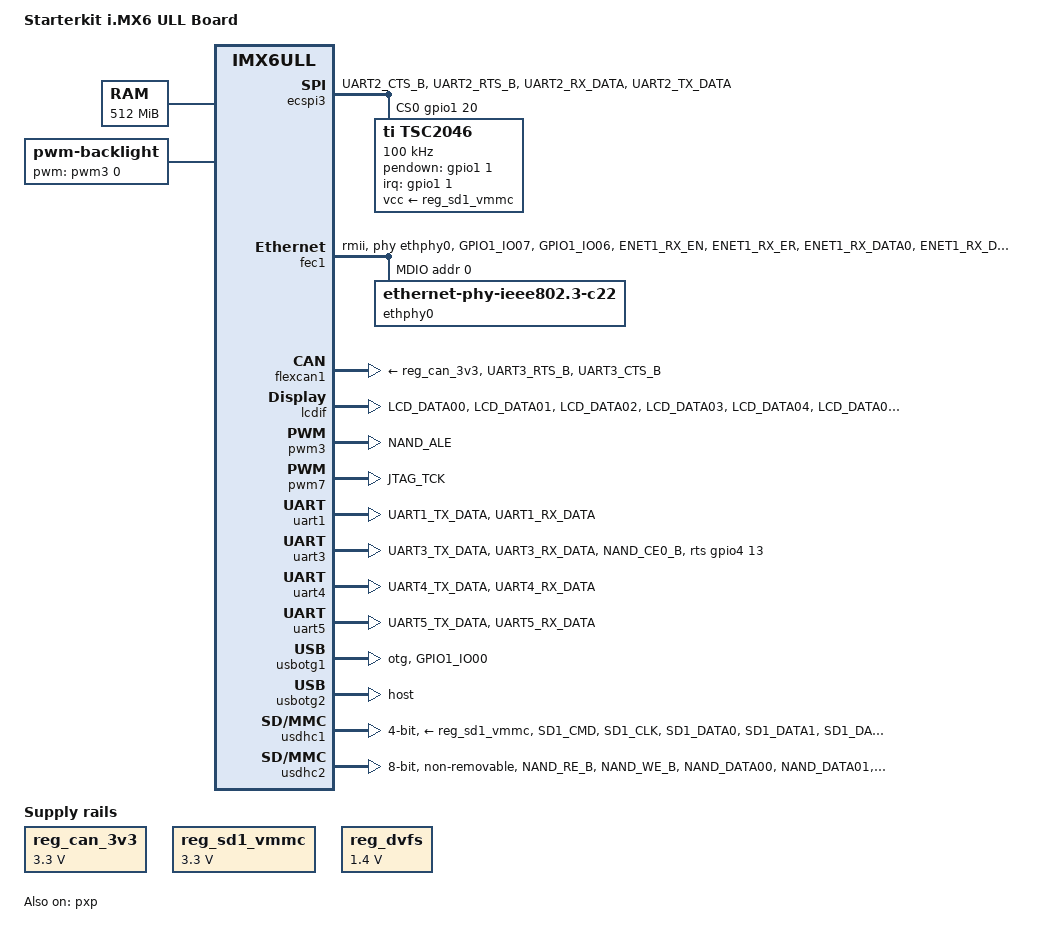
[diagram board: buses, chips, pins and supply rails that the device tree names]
/*
 * Copyright (C) 2017 starterkit.ru
 *
 * This program is free software; you can redistribute it and/or modify
 * it under the terms of the GNU General Public License version 2 as
 * published by the Free Software Foundation.
 */

/dts-v1/;

#include <dt-bindings/input/input.h>
#include "imx6ull.dtsi"

/ {
	model = "Starterkit i.MX6 ULL Board";
	compatible = "fsl,imx6ull-14x14-evk", "fsl,imx6ull";

	chosen {
		stdout-path = &uart1;
	};

	memory {
		reg = <0x80000000 0x20000000>;
	};

	reserved-memory {
		#address-cells = <1>;
		#size-cells = <1>;
		ranges;

		linux,cma {
			compatible = "shared-dma-pool";
			reusable;
			size = <0x14000000>;
			linux,cma-default;
		};
	};

	backlight {
		compatible = "pwm-backlight";
		pwms = <&pwm3 0 5000000>;
		brightness-levels = <0 4 8 16 32 64 128 255>;
		default-brightness-level = <7>;
		status = "okay";
	};

	pxp_v4l2 {
		compatible = "fsl,imx6ul-pxp-v4l2", "fsl,imx6sx-pxp-v4l2", "fsl,imx6sl-pxp-v4l2";
		status = "okay";
	};

	regulators {
		compatible = "simple-bus";
		#address-cells = <1>;
		#size-cells = <0>;

		reg_can_3v3: regulator@0 {
			compatible = "regulator-fixed";
			regulator-name = "can-3v3";
			regulator-min-microvolt = <3300000>;
			regulator-max-microvolt = <3300000>;
		};

		reg_sd1_vmmc: regulator@1 {
			compatible = "regulator-fixed";
			regulator-name = "VSD_3V3";
			regulator-min-microvolt = <3300000>;
			regulator-max-microvolt = <3300000>;
		};

		reg_dvfs: regulator@2 {
			compatible = "regulator-fixed";
			regulator-name = "DVFS_1V4";
			regulator-min-microvolt = <1400000>;
			regulator-max-microvolt = <1400000>;
		};
	};
};

&cpu0 {
	arm-supply = <&reg_arm>;
	soc-supply = <&reg_soc>;
	dc-supply = <&reg_dvfs>;
};

&clks {
	assigned-clocks = <&clks IMX6UL_CLK_PLL4_AUDIO_DIV>;
	assigned-clock-rates = <786432000>;
};

&csi {
	status = "disabled";
};

/* pin conflicts with uart2 */
&ecspi3 {
	fsl,spi-num-chipselects = <1>;
	cs-gpios = <&gpio1 20 0>;
	pinctrl-names = "default";
	pinctrl-0 = <&pinctrl_ecspi3_1 &pinctrl_ecspi3_cs_1>;
	status = "okay";

	tsc2046@0 {
		compatible = "ti,tsc2046";
		reg = <0>;
		spi-max-frequency = <100000>;
		/* pen irq is GPIO1_1 */
		interrupt-parent = <&gpio1>;
		interrupts = <1 0x2>;
		pendown-gpio = <&gpio1 1 0>;
		vcc-supply = <&reg_sd1_vmmc>;

		ti,debounce-max = /bits/ 16 <5>;
		ti,debounce-tol = /bits/ 16 <10>;
		ti,debounce-rep = /bits/ 16 <0>;

		linux,wakeup;
	};
};

&fec1 {
	pinctrl-names = "default";
	pinctrl-0 = <&pinctrl_enet1>;
	phy-mode = "rmii";
	phy-reset-gpios = <&gpio5 1 0>;
	phy-handle = <&ethphy0>;
	status = "okay";

	mdio {
		#address-cells = <1>;
		#size-cells = <0>;

		ethphy0: ethernet-phy@0 {
			compatible = "ethernet-phy-ieee802.3-c22";
			reg = <0>;
		};
	};
};

&fec2 {
	status = "disabled";
};

/* pin conflicts with uart3 rts/cts */
&flexcan1 {
	pinctrl-names = "default";
	pinctrl-0 = <&pinctrl_flexcan1>;
	xceiver-supply = <&reg_can_3v3>;
	status = "okay";
};

&gpc {
	fsl,cpu_pupscr_sw2iso = <0x1>;
	fsl,cpu_pupscr_sw = <0x0>;
	fsl,cpu_pdnscr_iso2sw = <0x1>;
	fsl,cpu_pdnscr_iso = <0x1>;
	fsl,ldo-bypass = <0>; /* DCDC, ldo-enable */
};

&iomuxc {
	pinctrl-names = "default";
	pinctrl-0 = <&pinctrl_hog_1>;
	imx6ul-sk {
		pinctrl_hog_1: hoggrp-1 {
			fsl,pins = <
				/* SD1 CD */
				MX6UL_PAD_UART1_RTS_B__GPIO1_IO19	0x17059
				/* PENIRQ */
				MX6UL_PAD_GPIO1_IO01__GPIO1_IO01	0x80000000
				MX6UL_PAD_GPIO1_IO02__GPIO1_IO02	0x80000000
				MX6UL_PAD_GPIO1_IO03__GPIO1_IO03	0x80000000
				MX6UL_PAD_GPIO1_IO04__GPIO1_IO04	0x80000000
				MX6UL_PAD_GPIO1_IO05__GPIO1_IO05	0x80000000
				MX6UL_PAD_GPIO1_IO08__GPIO1_IO08	0x80000000
				MX6UL_PAD_GPIO1_IO09__GPIO1_IO09	0x80000000
				MX6UL_PAD_NAND_READY_B__GPIO4_IO12	0x80000000
			>;
		};

		pinctrl_csi1: csi1grp {
			fsl,pins = <
				MX6UL_PAD_CSI_MCLK__CSI_MCLK		0x1b088
				MX6UL_PAD_CSI_PIXCLK__CSI_PIXCLK	0x1b088
				MX6UL_PAD_CSI_VSYNC__CSI_VSYNC		0x1b088
				MX6UL_PAD_CSI_HSYNC__CSI_HSYNC		0x1b088
				MX6UL_PAD_CSI_DATA00__CSI_DATA02	0x1b088
				MX6UL_PAD_CSI_DATA01__CSI_DATA03	0x1b088
				MX6UL_PAD_CSI_DATA02__CSI_DATA04	0x1b088
				MX6UL_PAD_CSI_DATA03__CSI_DATA05	0x1b088
				MX6UL_PAD_CSI_DATA04__CSI_DATA06	0x1b088
				MX6UL_PAD_CSI_DATA05__CSI_DATA07	0x1b088
				MX6UL_PAD_CSI_DATA06__CSI_DATA08	0x1b088
				MX6UL_PAD_CSI_DATA07__CSI_DATA09	0x1b088
			>;
		};

		pinctrl_ecspi3_cs_1: ecspi3_cs_grp-1 {
			fsl,pins = <
				MX6UL_PAD_UART2_TX_DATA__GPIO1_IO20  0x10b0
			>;
		};

		pinctrl_ecspi3_1: ecspi3grp-1 {
			fsl,pins = <
				MX6UL_PAD_UART2_CTS_B__ECSPI3_MOSI   0x10b0
				MX6UL_PAD_UART2_RTS_B__ECSPI3_MISO   0x10b0
				MX6UL_PAD_UART2_RX_DATA__ECSPI3_SCLK 0x10b0
			>;
		};

		pinctrl_enet1: enet1grp {
			fsl,pins = <
				MX6UL_PAD_GPIO1_IO07__ENET1_MDC		    0x1b0b0
				MX6UL_PAD_GPIO1_IO06__ENET1_MDIO	    0x1b0b0
				MX6UL_PAD_ENET1_RX_EN__ENET1_RX_EN      0x1b0b0
				MX6UL_PAD_ENET1_RX_ER__ENET1_RX_ER      0x1b0b0
				MX6UL_PAD_ENET1_RX_DATA0__ENET1_RDATA00 0x1b0b0
				MX6UL_PAD_ENET1_RX_DATA1__ENET1_RDATA01 0x1b0b0
				MX6UL_PAD_ENET1_TX_EN__ENET1_TX_EN      0x1b0b0
				MX6UL_PAD_ENET1_TX_DATA0__ENET1_TDATA00 0x1b0b0
				MX6UL_PAD_ENET1_TX_DATA1__ENET1_TDATA01 0x1b0b0
				MX6UL_PAD_ENET1_TX_CLK__ENET1_REF_CLK1  0x4001b031
			>;
		};

		pinctrl_enet2: enet2grp {
			fsl,pins = <
/*
				MX6UL_PAD_GPIO1_IO07__ENET2_MDC		    0x1b0b0
				MX6UL_PAD_GPIO1_IO06__ENET2_MDIO	    0x1b0b0
*/
				MX6UL_PAD_ENET2_RX_EN__ENET2_RX_EN	    0x1b0b0
				MX6UL_PAD_ENET2_RX_ER__ENET2_RX_ER	    0x1b0b0
				MX6UL_PAD_ENET2_RX_DATA0__ENET2_RDATA00	0x1b0b0
				MX6UL_PAD_ENET2_RX_DATA1__ENET2_RDATA01	0x1b0b0
				MX6UL_PAD_ENET2_TX_EN__ENET2_TX_EN	    0x1b0b0
				MX6UL_PAD_ENET2_TX_DATA0__ENET2_TDATA00	0x1b0b0
				MX6UL_PAD_ENET2_TX_DATA1__ENET2_TDATA01	0x1b0b0
				MX6UL_PAD_ENET2_TX_CLK__ENET2_REF_CLK2	0x4001b031
			>;
		};

		pinctrl_flexcan1: flexcan1grp {
			fsl,pins = <
				MX6UL_PAD_UART3_RTS_B__FLEXCAN1_RX      0x1b020
				MX6UL_PAD_UART3_CTS_B__FLEXCAN1_TX      0x1b020
			>;
		};

		pinctrl_lcdif_dat: lcdifdatgrp {
			fsl,pins = <
				MX6UL_PAD_LCD_DATA00__LCDIF_DATA00  0x79
				MX6UL_PAD_LCD_DATA01__LCDIF_DATA01  0x79
				MX6UL_PAD_LCD_DATA02__LCDIF_DATA02  0x79
				MX6UL_PAD_LCD_DATA03__LCDIF_DATA03  0x79
				MX6UL_PAD_LCD_DATA04__LCDIF_DATA04  0x79
				MX6UL_PAD_LCD_DATA05__LCDIF_DATA05  0x79
				MX6UL_PAD_LCD_DATA06__LCDIF_DATA06  0x79
				MX6UL_PAD_LCD_DATA07__LCDIF_DATA07  0x79
				MX6UL_PAD_LCD_DATA08__LCDIF_DATA08  0x79
				MX6UL_PAD_LCD_DATA09__LCDIF_DATA09  0x79
				MX6UL_PAD_LCD_DATA10__LCDIF_DATA10  0x79
				MX6UL_PAD_LCD_DATA11__LCDIF_DATA11  0x79
				MX6UL_PAD_LCD_DATA12__LCDIF_DATA12  0x79
				MX6UL_PAD_LCD_DATA13__LCDIF_DATA13  0x79
				MX6UL_PAD_LCD_DATA14__LCDIF_DATA14  0x79
				MX6UL_PAD_LCD_DATA15__LCDIF_DATA15  0x79
				MX6UL_PAD_LCD_DATA16__LCDIF_DATA16  0x79
				MX6UL_PAD_LCD_DATA17__LCDIF_DATA17  0x79
				MX6UL_PAD_LCD_DATA18__LCDIF_DATA18  0x79
				MX6UL_PAD_LCD_DATA19__LCDIF_DATA19  0x79
				MX6UL_PAD_LCD_DATA20__LCDIF_DATA20  0x79
				MX6UL_PAD_LCD_DATA21__LCDIF_DATA21  0x79
				MX6UL_PAD_LCD_DATA22__LCDIF_DATA22  0x79
				MX6UL_PAD_LCD_DATA23__LCDIF_DATA23  0x79
			>;
		};

		pinctrl_lcdif_ctrl: lcdifctrlgrp {
			fsl,pins = <
				MX6UL_PAD_LCD_CLK__LCDIF_CLK	    0x79
				MX6UL_PAD_LCD_ENABLE__LCDIF_ENABLE  0x79
				MX6UL_PAD_LCD_HSYNC__LCDIF_HSYNC    0x79
				MX6UL_PAD_LCD_VSYNC__LCDIF_VSYNC    0x79
			>;
		};

		pinctrl_pwm3: pwm3grp {
			fsl,pins = <
				MX6UL_PAD_NAND_ALE__PWM3_OUT   0x110b0
			>;
		};

		pinctrl_pwm7: pwm7grp {
			fsl,pins = <
				MX6UL_PAD_JTAG_TCK__PWM7_OUT   0x110b0
			>;
		};

		pinctrl_uart1: uart1grp {
			fsl,pins = <
				MX6UL_PAD_UART1_TX_DATA__UART1_DCE_TX 0x1b0b1
				MX6UL_PAD_UART1_RX_DATA__UART1_DCE_RX 0x1b0b1
			>;
		};

		pinctrl_uart2: uart2grp {
			fsl,pins = <
				MX6UL_PAD_UART2_TX_DATA__UART2_DCE_TX	0x1b0b1
				MX6UL_PAD_UART2_RX_DATA__UART2_DCE_RX	0x1b0b1
				MX6UL_PAD_UART2_RTS_B__UART2_DCE_RTS	0x1b0b1
				MX6UL_PAD_UART2_CTS_B__UART2_DCE_CTS	0x1b0b1
			>;
		};

		pinctrl_uart2dte: uart2dtegrp {
			fsl,pins = <
				MX6UL_PAD_UART2_TX_DATA__UART2_DTE_RX	0x1b0b1
				MX6UL_PAD_UART2_RX_DATA__UART2_DTE_TX	0x1b0b1
				MX6UL_PAD_UART2_RTS_B__UART2_DTE_CTS	0x1b0b1
				MX6UL_PAD_UART2_CTS_B__UART2_DTE_RTS	0x1b0b1
			>;
		};

		pinctrl_uart3dce: uart3dcegrp {
			fsl,pins = <
				MX6UL_PAD_UART3_TX_DATA__UART3_DCE_TX	0x1b0b1
				MX6UL_PAD_UART3_RX_DATA__UART3_DCE_RX	0x1b0b1
				MX6UL_PAD_UART3_RTS_B__UART3_DCE_RTS	0x1b0b1
				MX6UL_PAD_UART3_CTS_B__UART3_DCE_CTS	0x1b0b1
			>;
		};

		pinctrl_uart3dte: uart3dtegrp {
			fsl,pins = <
				MX6UL_PAD_UART3_TX_DATA__UART3_DTE_RX	0x1b0b1
				MX6UL_PAD_UART3_RX_DATA__UART3_DTE_TX	0x1b0b1
				MX6UL_PAD_UART3_RTS_B__UART3_DTE_CTS	0x1b0b1
				MX6UL_PAD_UART3_CTS_B__UART3_DTE_RTS	0x1b0b1
			>;
		};

		pinctrl_uart3txrx: uart3txrxgrp {
			fsl,pins = <
				MX6UL_PAD_UART3_TX_DATA__UART3_DCE_TX	0x1b0b1
				MX6UL_PAD_UART3_RX_DATA__UART3_DCE_RX	0x1b0b1
			>;
		};

		pinctrl_uart3rtsgpio: uart3rtsgpiogrp {
			fsl,pins = <
				MX6UL_PAD_NAND_CE0_B__GPIO4_IO13	0x1b0b1
			>;
		};

		pinctrl_uart4: uart4grp {
			fsl,pins = <
				MX6UL_PAD_UART4_TX_DATA__UART4_DCE_TX 0x1b0b1
				MX6UL_PAD_UART4_RX_DATA__UART4_DCE_RX 0x1b0b1
			>;
		};

		pinctrl_uart5: uart5grp {
			fsl,pins = <
				MX6UL_PAD_UART5_TX_DATA__UART5_DCE_TX 0x1b0b1
				MX6UL_PAD_UART5_RX_DATA__UART5_DCE_RX 0x1b0b1
			>;
		};

		pinctrl_usb_otg1_id: usbotg1idgrp {
			fsl,pins = <
				MX6UL_PAD_GPIO1_IO00__ANATOP_OTG1_ID    0x17059
			>;
		};

		pinctrl_usdhc1: usdhc1grp {
			fsl,pins = <
				MX6UL_PAD_SD1_CMD__USDHC1_CMD     0x17059
				MX6UL_PAD_SD1_CLK__USDHC1_CLK     0x10071
				MX6UL_PAD_SD1_DATA0__USDHC1_DATA0 0x17059
				MX6UL_PAD_SD1_DATA1__USDHC1_DATA1 0x17059
				MX6UL_PAD_SD1_DATA2__USDHC1_DATA2 0x17059
				MX6UL_PAD_SD1_DATA3__USDHC1_DATA3 0x17059
			>;
		};

		pinctrl_usdhc1_100mhz: usdhc1grp100mhz {
			fsl,pins = <
				MX6UL_PAD_SD1_CMD__USDHC1_CMD     0x170b9
				MX6UL_PAD_SD1_CLK__USDHC1_CLK     0x100b9
				MX6UL_PAD_SD1_DATA0__USDHC1_DATA0 0x170b9
				MX6UL_PAD_SD1_DATA1__USDHC1_DATA1 0x170b9
				MX6UL_PAD_SD1_DATA2__USDHC1_DATA2 0x170b9
				MX6UL_PAD_SD1_DATA3__USDHC1_DATA3 0x170b9
			>;
		};

		pinctrl_usdhc1_200mhz: usdhc1grp200mhz {
			fsl,pins = <
				MX6UL_PAD_SD1_CMD__USDHC1_CMD     0x170f9
				MX6UL_PAD_SD1_CLK__USDHC1_CLK     0x100f9
				MX6UL_PAD_SD1_DATA0__USDHC1_DATA0 0x170f9
				MX6UL_PAD_SD1_DATA1__USDHC1_DATA1 0x170f9
				MX6UL_PAD_SD1_DATA2__USDHC1_DATA2 0x170f9
				MX6UL_PAD_SD1_DATA3__USDHC1_DATA3 0x170f9
			>;
		};

		pinctrl_usdhc2_8bit: usdhc2grp_8bit {
			fsl,pins = <
				MX6UL_PAD_NAND_RE_B__USDHC2_CLK     0x10069
				MX6UL_PAD_NAND_WE_B__USDHC2_CMD     0x17059
				MX6UL_PAD_NAND_DATA00__USDHC2_DATA0 0x17059
				MX6UL_PAD_NAND_DATA01__USDHC2_DATA1 0x17059
				MX6UL_PAD_NAND_DATA02__USDHC2_DATA2 0x17059
				MX6UL_PAD_NAND_DATA03__USDHC2_DATA3 0x17059
				MX6UL_PAD_NAND_DATA04__USDHC2_DATA4 0x17059
				MX6UL_PAD_NAND_DATA05__USDHC2_DATA5 0x17059
				MX6UL_PAD_NAND_DATA06__USDHC2_DATA6 0x17059
				MX6UL_PAD_NAND_DATA07__USDHC2_DATA7 0x17059
			>;
		};

		pinctrl_usdhc2_8bit_100mhz: usdhc2grp_8bit_100mhz {
			fsl,pins = <
				MX6UL_PAD_NAND_RE_B__USDHC2_CLK     0x100b9
				MX6UL_PAD_NAND_WE_B__USDHC2_CMD     0x170b9
				MX6UL_PAD_NAND_DATA00__USDHC2_DATA0 0x170b9
				MX6UL_PAD_NAND_DATA01__USDHC2_DATA1 0x170b9
				MX6UL_PAD_NAND_DATA02__USDHC2_DATA2 0x170b9
				MX6UL_PAD_NAND_DATA03__USDHC2_DATA3 0x170b9
				MX6UL_PAD_NAND_DATA04__USDHC2_DATA4 0x170b9
				MX6UL_PAD_NAND_DATA05__USDHC2_DATA5 0x170b9
				MX6UL_PAD_NAND_DATA06__USDHC2_DATA6 0x170b9
				MX6UL_PAD_NAND_DATA07__USDHC2_DATA7 0x170b9
			>;
		};

		pinctrl_usdhc2_8bit_200mhz: usdhc2grp_8bit_200mhz {
			fsl,pins = <
				MX6UL_PAD_NAND_RE_B__USDHC2_CLK     0x100f9
				MX6UL_PAD_NAND_WE_B__USDHC2_CMD     0x170f9
				MX6UL_PAD_NAND_DATA00__USDHC2_DATA0 0x170f9
				MX6UL_PAD_NAND_DATA01__USDHC2_DATA1 0x170f9
				MX6UL_PAD_NAND_DATA02__USDHC2_DATA2 0x170f9
				MX6UL_PAD_NAND_DATA03__USDHC2_DATA3 0x170f9
				MX6UL_PAD_NAND_DATA04__USDHC2_DATA4 0x170f9
				MX6UL_PAD_NAND_DATA05__USDHC2_DATA5 0x170f9
				MX6UL_PAD_NAND_DATA06__USDHC2_DATA6 0x170f9
				MX6UL_PAD_NAND_DATA07__USDHC2_DATA7 0x170f9
			>;
		};

		pinctrl_wdog: wdoggrp {
			fsl,pins = <
				MX6UL_PAD_LCD_RESET__WDOG1_WDOG_ANY    0x30b0
			>;
		};
	};
};

&iomuxc_snvs {
	pinctrl-names = "default_snvs";
	pinctrl-0 = <&pinctrl_hog_2>;
	imx6ul-sk {
		pinctrl_hog_2: hoggrp-2 {
			fsl,pins = <
				/* ETH_RES */
				MX6ULL_PAD_SNVS_TAMPER1__GPIO5_IO01      0x80000000
			>;
		};
	};
};

&lcdif {
	pinctrl-names = "default";
	pinctrl-0 = <&pinctrl_lcdif_dat
		     &pinctrl_lcdif_ctrl>;
	display = <&display0>;
	status = "okay";

	display0: display {
		bits-per-pixel = <16>;
		bus-width = <24>;

		display-timings {
			native-mode = <&timing0>;
			timing0: timing0 {
				clock-frequency = <33500000>;
				hactive = <800>;
				vactive = <480>;
				hback-porch = <89>;
				hfront-porch = <164>;
				vback-porch = <23>;
				vfront-porch = <10>;
				hsync-len = <10>;
				vsync-len = <10>;

				hsync-active = <0>;
				vsync-active = <0>;
				de-active = <1>;
				pixelclk-active = <0>;
			};
		};
	};
};

&pwm3 {
	pinctrl-names = "default";
	pinctrl-0 = <&pinctrl_pwm3>;
	clocks = <&clks IMX6UL_CLK_PWM3>,
		 <&clks IMX6UL_CLK_PWM3>;
	status = "okay";
};

&pwm7 {
	compatible = "fsl,imx-snd-pwm";
	pinctrl-names = "default";
	pinctrl-0 = <&pinctrl_pwm7>;
	clocks = <&clks IMX6UL_CLK_PWM7>,
		 <&clks IMX6UL_CLK_PWM7>;
	status = "okay";
};

&pxp {
	status = "okay";
};

&uart1 {
	pinctrl-names = "default";
	pinctrl-0 = <&pinctrl_uart1>;
	status = "okay";
};

/* pin conflicts with ecspi3 */
&uart2 {
	pinctrl-names = "default";
	pinctrl-0 = <&pinctrl_uart2>;
	fsl,uart-has-rtscts;
	/* for DTE mode, add below change */
	/* fsl,dte-mode; */
	/* pinctrl-0 = <&pinctrl_uart2dte>; */
	status = "disabled";
};

/* rts/cts pin conflicts with flexcan1 */
&uart3 {
	pinctrl-names = "default";
	pinctrl-0 = <&pinctrl_uart3txrx &pinctrl_uart3rtsgpio>;
	rts-gpios = <&gpio4 13 GPIO_ACTIVE_HIGH>;
	/* for DCE mode */
	/* pinctrl-0 = <&pinctrl_uart3dce>; */
	/* fsl,uart-has-rtscts; */
	/* for DTE mode, add below change */
	/* fsl,dte-mode; */
	/* pinctrl-0 = <&pinctrl_uart3dte>; */
	status = "okay";
};

&uart4 {
	pinctrl-names = "default";
	pinctrl-0 = <&pinctrl_uart4>;
	status = "okay";
};

&uart5 {
	pinctrl-names = "default";
	pinctrl-0 = <&pinctrl_uart5>;
	status = "okay";
};

&usbotg1 {
	pinctrl-names = "default";
	pinctrl-0 = <&pinctrl_usb_otg1_id>;
	dr_mode = "otg";
	srp-disable;
	hnp-disable;
	adp-disable;
	status = "okay";
};

&usbotg2 {
	dr_mode = "host";
	disable-over-current;
	status = "okay";
};

&usbphy1 {
	tx-d-cal = <0x5>;
};

&usbphy2 {
	tx-d-cal = <0x5>;
};

&usdhc1 {
	pinctrl-names = "default";
	pinctrl-0 = <&pinctrl_usdhc1>;
	cd-gpios = <&gpio1 19 GPIO_ACTIVE_LOW>;
	keep-power-in-suspend;
	enable-sdio-wakeup;
	bus-width = <4>;
	no-1-8-v;
	vmmc-supply = <&reg_sd1_vmmc>;
	status = "okay";
};

&usdhc2 {
	pinctrl-names = "default", "state_100mhz", "state_200mhz";
	pinctrl-0 = <&pinctrl_usdhc2_8bit>;
	pinctrl-1 = <&pinctrl_usdhc2_8bit_100mhz>;
	pinctrl-2 = <&pinctrl_usdhc2_8bit_200mhz>;
	bus-width = <8>;
	non-removable;
	status = "okay";
};

&wdog1 {
	pinctrl-names = "default";
	pinctrl-0 = <&pinctrl_wdog>;
	fsl,wdog_b;
};

